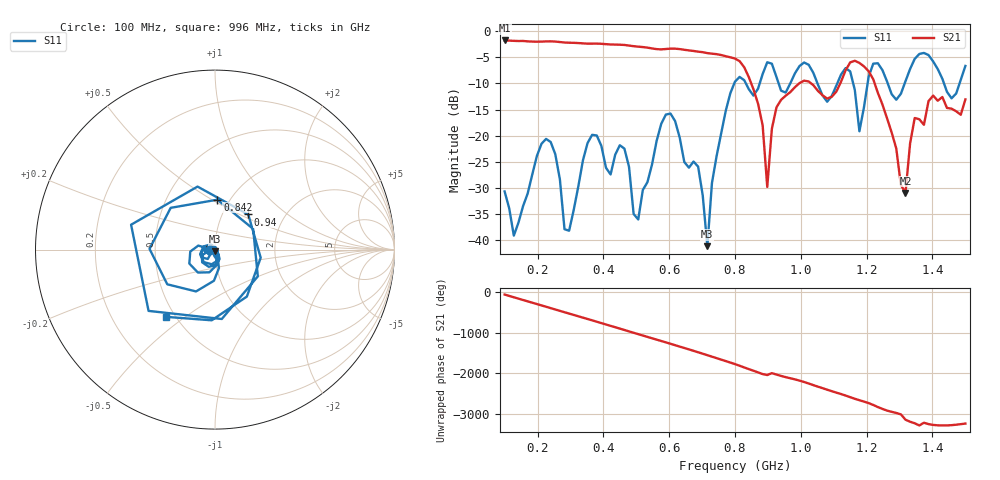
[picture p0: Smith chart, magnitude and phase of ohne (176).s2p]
! NanoVNA-App
! Date: 2025-09-25 14:22:10
! Start: 100MHz Stop: 1,5GHz Points: 101
! S-Parameter data: F S11 S21 S12 S22
# Hz S RI R 50
!  Frequency  S11_Real  S11_Imag  S21_Real  S21_Imag  S12_Real  S12_Imag  S22_Real  S22_Imag
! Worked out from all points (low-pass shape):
!   101 points, 100 MHz to 1.5 GHz, reference 50 ohm
!   highest |S21| = -1.79 dB at 100 MHz (marker M1); lowest = -30.9 dB at 1.318 GHz (marker M2)
!   |S21| within 3 dB of the highest: start of sweep to 771 MHz
!   lowest |S11| = -41.1 dB at 716 MHz (marker M3), VSWR 1.02, Z = 49.9 - j0.868 ohm
!   |S11| at or under -10 dB: start of sweep to 797.8 MHz; 833 MHz to 875.1 MHz (42.1 MHz wide, 4.93 % of centre); 1.051 GHz to 1.111 GHz (60.19 MHz wide, 5.57 % of centre) (the widest 3 of 7)
!   S12 and S22 are empty: the file has one direction only
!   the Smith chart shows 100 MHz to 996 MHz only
!   S11 on the Smith chart (normalised r, x): 100 MHz: 0.94, -0.01; 842 MHz: 0.88, +0.53; 940 MHz: 1.32, +0.56; 996 MHz: 0.45, -0.43
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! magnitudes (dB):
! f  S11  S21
! 100 MHz  -30.6  -1.8
! 128 MHz  -39.1  -1.9
! 226 MHz  -20.6  -2.0
! 296 MHz  -38.1  -2.2
! 338 MHz  -24.7  -2.3
! 464 MHz  -22.5  -2.7
! 506 MHz  -36.0  -3.0
! 576 MHz  -17.7  -3.5
! 688 MHz  -25.9  -3.9
! 716 MHz  -41.1  -4.2
! 800 MHz  -9.7  -5.2
! 842 MHz  -11.1  -8.8
! 898 MHz  -6.0  -29.8
! 940 MHz  -11.4  -13.1
! 996 MHz  -6.7  -9.9
! 1.038 GHz  -8.0  -10.3
! 1.178 GHz  -19.1  -6.1
! 1.22 GHz  -6.2  -9.2
! 1.276 GHz  -12.1  -19.4
! 1.318 GHz  -9.6  -30.9
! 1.346 GHz  -5.3  -16.6
! 1.5 GHz  -6.7  -13.1
